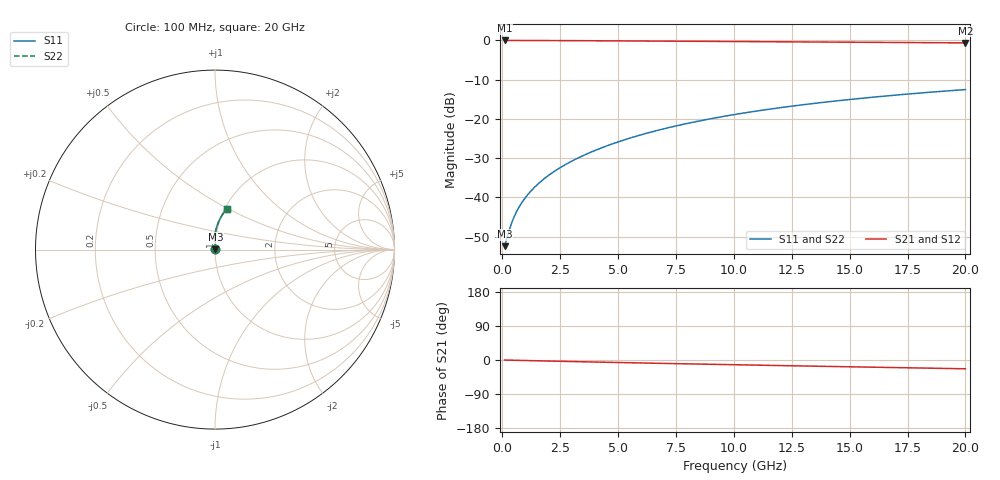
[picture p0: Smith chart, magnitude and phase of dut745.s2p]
! Touchstone file exported from HFSS 2024.1.0
!  File:  C:/UserFiles/LocalFiles/RDL_TSV_Batchsim/temp_RDL_bottom_745_1779859505.aedt
!  Generated:  01:27:48 PM May 27, 2026
!  Design:  RDL_bottom
!  Project:  temp_RDL_bottom_745_1779859505
!  Setup:  Setup1
!  Solution:  Sweep
! Variables:
!  dtsv = 10.80580581um
!  hbump = 3um
!  htsv = 75.83um
!  ldown = 285.05um
!  lrdl = 100um
!  p = 40
!  p1 = 58.02um
!  rhole = 1um
!  t = 450um
!  tdown = 2.05um
!  trdl = 3.915915916um
!  wdown = 29.11um
!  wrdl = 20um
# GHz S MA R 50.000000
! Terminal data exported
! Port[1] = RDL1_T1
! Port[2] = RDL1_T2
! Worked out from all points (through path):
!   200 points, 100 MHz to 20 GHz, reference 50 ohm
!   highest |S21| = -0.02 dB at 100 MHz (marker M1); lowest = -0.6 dB at 20 GHz (marker M2)
!   group delay of S21, straight-line fit = 3.18 ps
!   lowest |S11| = -52.4 dB at 100 MHz (marker M3), VSWR 1.00, Z = 50.2 + j0.105 ohm
!   |S11| at or under -10 dB: start of sweep to end of sweep
!   |S22| runs from -52.4 to -12.5 dB; largest |S21 - S12| = 4.1e-15
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0.1  0.002394 26.0  0.9978 -0.1  0.9978 -0.1  0.002394 26.0
! Gamma 0 0 0 0
! Port Impedance 50 0 50 0
0.3  0.00383 53.8  0.9977 -0.4  0.9977 -0.4  0.00383 53.8
0.4  0.004691 60.2  0.9975 -0.6  0.9975 -0.6  0.004691 60.2
0.5  0.005568 64.6  0.9974 -0.7  0.9974 -0.7  0.005568 64.6
0.6  0.006447 67.7  0.9972 -0.9  0.9972 -0.9  0.006447 67.7
0.7  0.007325 70.2  0.9971 -1.0  0.9971 -1.0  0.007324 70.2
0.9  0.009079 73.9  0.9968 -1.3  0.9968 -1.3  0.009079 73.9
1.2  0.01174 77.9  0.9964 -1.7  0.9964 -1.7  0.01173 77.9
1.7  0.01628 82.2  0.9955 -2.4  0.9955 -2.4  0.01628 82.2
2.2  0.02101 85.0  0.9945 -3.0  0.9945 -3.0  0.02101 85.0
2.8  0.02694 87.2  0.993 -3.8  0.993 -3.8  0.02694 87.2
3.5  0.0342 88.9  0.991 -4.8  0.991 -4.8  0.0342 88.9
4.2  0.04182 89.8  0.9887 -5.7  0.9887 -5.7  0.04183 89.9
5  0.05093 90.4  0.9859 -6.7  0.9859 -6.7  0.05094 90.4
5.9  0.06161 90.4  0.9825 -7.8  0.9825 -7.8  0.06162 90.4
6.8  0.07264 90.0  0.9791 -8.8  0.9791 -8.8  0.07265 90.0
8.4  0.09281 88.7  0.973 -10.7  0.973 -10.7  0.09282 88.7
10.1  0.1146 86.8  0.9665 -12.6  0.9665 -12.6  0.1146 86.8
11.7  0.1351 84.7  0.9606 -14.4  0.9606 -14.4  0.1351 84.8
13.4  0.1567 82.5  0.9543 -16.2  0.9543 -16.2  0.1567 82.5
16.7  0.1975 78.2  0.942 -19.8  0.942 -19.8  0.1975 78.2
20  0.2364 74.0  0.9295 -23.2  0.9295 -23.2  0.2364 74.0
